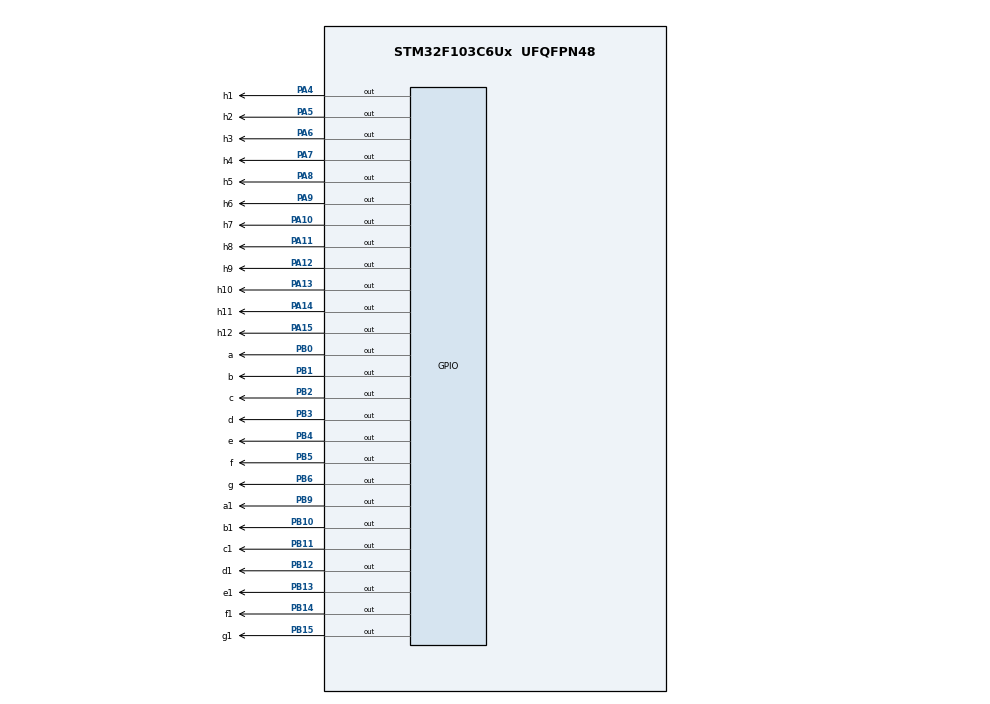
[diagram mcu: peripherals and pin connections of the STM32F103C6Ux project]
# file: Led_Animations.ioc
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Mcu.Family=STM32F1
Mcu.Name=STM32F103C6Ux
Mcu.Package=UFQFPN48
NVIC.PriorityGroup=NVIC_PRIORITYGROUP_4
PA10.GPIO_Label=h7
PA10.Signal=GPIO_Output
PA11.GPIO_Label=h8
PA11.Signal=GPIO_Output
PA12.GPIO_Label=h9
PA12.Signal=GPIO_Output
PA13.GPIO_Label=h10
PA13.Signal=GPIO_Output
PA14.GPIO_Label=h11
PA14.Signal=GPIO_Output
PA15.GPIO_Label=h12
PA15.Signal=GPIO_Output
PA4.GPIO_Label=h1
PA4.Signal=GPIO_Output
PA5.GPIO_Label=h2
PA5.Signal=GPIO_Output
PA6.GPIO_Label=h3
PA6.Signal=GPIO_Output
PA7.GPIO_Label=h4
PA7.Signal=GPIO_Output
PA8.GPIO_Label=h5
PA8.Signal=GPIO_Output
PA9.GPIO_Label=h6
PA9.Signal=GPIO_Output
PB0.GPIO_Label=a
PB0.Signal=GPIO_Output
PB1.GPIO_Label=b
PB1.Signal=GPIO_Output
PB10.GPIO_Label=b1
PB10.Signal=GPIO_Output
PB11.GPIO_Label=c1
PB11.Signal=GPIO_Output
PB12.GPIO_Label=d1
PB12.Signal=GPIO_Output
PB13.GPIO_Label=e1
PB13.Signal=GPIO_Output
PB14.GPIO_Label=f1
PB14.Signal=GPIO_Output
PB15.GPIO_Label=g1
PB15.Signal=GPIO_Output
PB2.GPIO_Label=c
PB2.Signal=GPIO_Output
PB3.GPIO_Label=d
PB3.Signal=GPIO_Output
PB4.GPIO_Label=e
PB4.Signal=GPIO_Output
PB5.GPIO_Label=f
PB5.Signal=GPIO_Output
PB6.GPIO_Label=g
PB6.Signal=GPIO_Output
PB9.GPIO_Label=a1
PB9.Signal=GPIO_Output
ProjectManager.HeapSize=0x200
ProjectManager.StackSize=0x400
ProjectManager.TargetToolchain=STM32CubeIDE
RCC.APB1Freq_Value=8000000
RCC.APB2Freq_Value=8000000
VP_SYS_VS_ND.Mode=No_Debug
board=custom

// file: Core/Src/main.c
/* USER CODE BEGIN Header */
/**
  ******************************************************************************
  * @file           : main.c
  * @brief          : Main program body
  ******************************************************************************
  * @attention
  *
  * <h2><center>&copy; Copyright (c) 2022 STMicroelectronics.
  * All rights reserved.</center></h2>
  *
  * This software component is licensed by ST under BSD 3-Clause license,
  * the "License"; You may not use this file except in compliance with the
  * License. You may obtain a copy of the License at:
  *                        opensource.org/licenses/BSD-3-Clause
  *
  ******************************************************************************
  */
/* USER CODE END Header */
#include "main.h"

void SystemClock_Config(void);
static void MX_GPIO_Init(void);

int main(void)
{

  /* MCU Configuration--------------------------------------------------------*/

  /* Reset of all peripherals, Initializes the Flash interface and the Systick. */
  HAL_Init();

  /* Configure the system clock */
  SystemClock_Config();

  /* Initialize all configured peripherals */
  MX_GPIO_Init();

  /* Infinite loop */
  /* USER CODE BEGIN WHILE */

// hàm chọn đèn sáng , 0 <= num <= 11 để hiện thị số giờ tương ứng
  void setNumberOnClock(int num){
	  if(num == 1) HAL_GPIO_WritePin ( h1_GPIO_Port , h1_Pin , GPIO_PIN_SET ) ;
	  else if(num == 2) HAL_GPIO_WritePin ( h2_GPIO_Port , h2_Pin , GPIO_PIN_SET ) ;
	  else if(num == 3) HAL_GPIO_WritePin ( h3_GPIO_Port , h3_Pin , GPIO_PIN_SET ) ;
	  else if(num == 4) HAL_GPIO_WritePin ( h4_GPIO_Port , h4_Pin , GPIO_PIN_SET ) ;
	  else if(num == 5) HAL_GPIO_WritePin ( h5_GPIO_Port , h5_Pin , GPIO_PIN_SET ) ;
	  else if(num == 6) HAL_GPIO_WritePin ( h6_GPIO_Port , h6_Pin , GPIO_PIN_SET ) ;
	  else if(num == 7) HAL_GPIO_WritePin ( h7_GPIO_Port , h7_Pin , GPIO_PIN_SET ) ;
	  else if(num == 8) HAL_GPIO_WritePin ( h8_GPIO_Port , h8_Pin , GPIO_PIN_SET ) ;
	  else if(num == 9) HAL_GPIO_WritePin ( h9_GPIO_Port , h9_Pin , GPIO_PIN_SET ) ;
	  else if(num == 10) HAL_GPIO_WritePin ( h10_GPIO_Port , h10_Pin , GPIO_PIN_SET ) ;
	  else if(num == 11) HAL_GPIO_WritePin ( h11_GPIO_Port , h11_Pin , GPIO_PIN_SET ) ;
	  else if(num == 0) HAL_GPIO_WritePin ( h12_GPIO_Port , h12_Pin , GPIO_PIN_SET ) ;
	  else return;
  }
// hàm chọn đèn tắt , 0 <= num <= 11 để hiện thị số giờ tương ứng
  void clearNumberOnClock(int num){
  	  if(num == 1) HAL_GPIO_WritePin ( h1_GPIO_Port , h1_Pin , GPIO_PIN_RESET ) ;
  	  else if(num == 2) HAL_GPIO_WritePin ( h2_GPIO_Port , h2_Pin , GPIO_PIN_RESET ) ;
  	  else if(num == 3) HAL_GPIO_WritePin ( h3_GPIO_Port , h3_Pin , GPIO_PIN_RESET ) ;
  	  else if(num == 4) HAL_GPIO_WritePin ( h4_GPIO_Port , h4_Pin , GPIO_PIN_RESET ) ;
  	  else if(num == 5) HAL_GPIO_WritePin ( h5_GPIO_Port , h5_Pin , GPIO_PIN_RESET ) ;
  	  else if(num == 6) HAL_GPIO_WritePin ( h6_GPIO_Port , h6_Pin , GPIO_PIN_RESET ) ;
  	  else if(num == 7) HAL_GPIO_WritePin ( h7_GPIO_Port , h7_Pin , GPIO_PIN_RESET ) ;
  	  else if(num == 8) HAL_GPIO_WritePin ( h8_GPIO_Port , h8_Pin , GPIO_PIN_RESET ) ;
  	  else if(num == 9) HAL_GPIO_WritePin ( h9_GPIO_Port , h9_Pin , GPIO_PIN_RESET ) ;
  	  else if(num == 10) HAL_GPIO_WritePin ( h10_GPIO_Port , h10_Pin , GPIO_PIN_RESET ) ;
  	  else if(num == 11) HAL_GPIO_WritePin ( h11_GPIO_Port , h11_Pin , GPIO_PIN_RESET ) ;
  	  else if(num == 0) HAL_GPIO_WritePin ( h12_GPIO_Port , h12_Pin , GPIO_PIN_RESET ) ;
  	  else return;
    }
// hàm tắt tất cả đèn
  void clearAllClock(){
	  for(int i = 0; i < 12; i++) clearNumberOnClock(i);
  }

  int sec = 0;
  int min = 30;
  int hour = 10;

    while (1)
    {
	//khi giây = 60 , phút bắt đâu thêm 1
    	if(sec == 60){
    		sec = 0;
    		min++;
    	}
	// đèn hiển thị giây = số giây / 5
    	if(sec % 5 == 0) {
    		clearAllClock();
    		setNumberOnClock(sec/5);
    	}
	// tương tự với phút và giờ
    	if(min == 60){
    	    min = 0;
    		hour++;
      	}
      	setNumberOnClock(min/5);
      	if(hour == 12) hour = 0;
      	setNumberOnClock(hour);

	// độ trễ 1 giây
      	sec++;
  	HAL_Delay(1000) ;
    }
    /* USER CODE END WHILE */

}

void SystemClock_Config(void)
{
  RCC_OscInitTypeDef RCC_OscInitStruct = {0};
  RCC_ClkInitTypeDef RCC_ClkInitStruct = {0};

  /** Initializes the RCC Oscillators according to the specified parameters
  * in the RCC_OscInitTypeDef structure.
  */
  RCC_OscInitStruct.OscillatorType = RCC_OSCILLATORTYPE_HSI;
  RCC_OscInitStruct.HSIState = RCC_HSI_ON;
  RCC_OscInitStruct.HSICalibrationValue = RCC_HSICALIBRATION_DEFAULT;
  RCC_OscInitStruct.PLL.PLLState = RCC_PLL_NONE;
  if (HAL_RCC_OscConfig(&RCC_OscInitStruct) != HAL_OK)
  {
    Error_Handler();
  }
  /** Initializes the CPU, AHB and APB buses clocks
  */
  RCC_ClkInitStruct.ClockType = RCC_CLOCKTYPE_HCLK|RCC_CLOCKTYPE_SYSCLK
                              |RCC_CLOCKTYPE_PCLK1|RCC_CLOCKTYPE_PCLK2;
  RCC_ClkInitStruct.SYSCLKSource = RCC_SYSCLKSOURCE_HSI;
  RCC_ClkInitStruct.AHBCLKDivider = RCC_SYSCLK_DIV1;
  RCC_ClkInitStruct.APB1CLKDivider = RCC_HCLK_DIV1;
  RCC_ClkInitStruct.APB2CLKDivider = RCC_HCLK_DIV1;

  if (HAL_RCC_ClockConfig(&RCC_ClkInitStruct, FLASH_LATENCY_0) != HAL_OK)
  {
    Error_Handler();
  }
}

static void MX_GPIO_Init(void)
{
  GPIO_InitTypeDef GPIO_InitStruct = {0};

  /* GPIO Ports Clock Enable */
  __HAL_RCC_GPIOA_CLK_ENABLE();
  __HAL_RCC_GPIOB_CLK_ENABLE();

  /*Configure GPIO pin Output Level */
  HAL_GPIO_WritePin(GPIOA, h1_Pin|h2_Pin|h3_Pin|h4_Pin
                          |h5_Pin|h6_Pin|h7_Pin|h8_Pin
                          |h9_Pin|h10_Pin|h11_Pin|h12_Pin, GPIO_PIN_RESET);

  /*Configure GPIO pin Output Level */
  HAL_GPIO_WritePin(GPIOB, a_Pin|b_Pin|c_Pin|b1_Pin
                          |c1_Pin|d1_Pin|e1_Pin|f1_Pin
                          |g1_Pin|d_Pin|e_Pin|f_Pin
                          |g_Pin|a1_Pin, GPIO_PIN_RESET);

  /*Configure GPIO pins : h1_Pin h2_Pin h3_Pin h4_Pin
                           h5_Pin h6_Pin h7_Pin h8_Pin
                           h9_Pin h10_Pin h11_Pin h12_Pin */
  GPIO_InitStruct.Pin = h1_Pin|h2_Pin|h3_Pin|h4_Pin
                          |h5_Pin|h6_Pin|h7_Pin|h8_Pin
                          |h9_Pin|h10_Pin|h11_Pin|h12_Pin;
  GPIO_InitStruct.Mode = GPIO_MODE_OUTPUT_PP;
  GPIO_InitStruct.Pull = GPIO_NOPULL;
  GPIO_InitStruct.Speed = GPIO_SPEED_FREQ_LOW;
  HAL_GPIO_Init(GPIOA, &GPIO_InitStruct);

  /*Configure GPIO pins : a_Pin b_Pin c_Pin b1_Pin
                           c1_Pin d1_Pin e1_Pin f1_Pin
                           g1_Pin d_Pin e_Pin f_Pin
                           g_Pin a1_Pin */
  GPIO_InitStruct.Pin = a_Pin|b_Pin|c_Pin|b1_Pin
                          |c1_Pin|d1_Pin|e1_Pin|f1_Pin
                          |g1_Pin|d_Pin|e_Pin|f_Pin
                          |g_Pin|a1_Pin;
  GPIO_InitStruct.Mode = GPIO_MODE_OUTPUT_PP;
  GPIO_InitStruct.Pull = GPIO_NOPULL;
  GPIO_InitStruct.Speed = GPIO_SPEED_FREQ_LOW;
  HAL_GPIO_Init(GPIOB, &GPIO_InitStruct);

}

void Error_Handler(void)
{
  __disable_irq();
  while (1)
  {
  }
}

/************************ (C) COPYRIGHT STMicroelectronics *****END OF FILE****/
